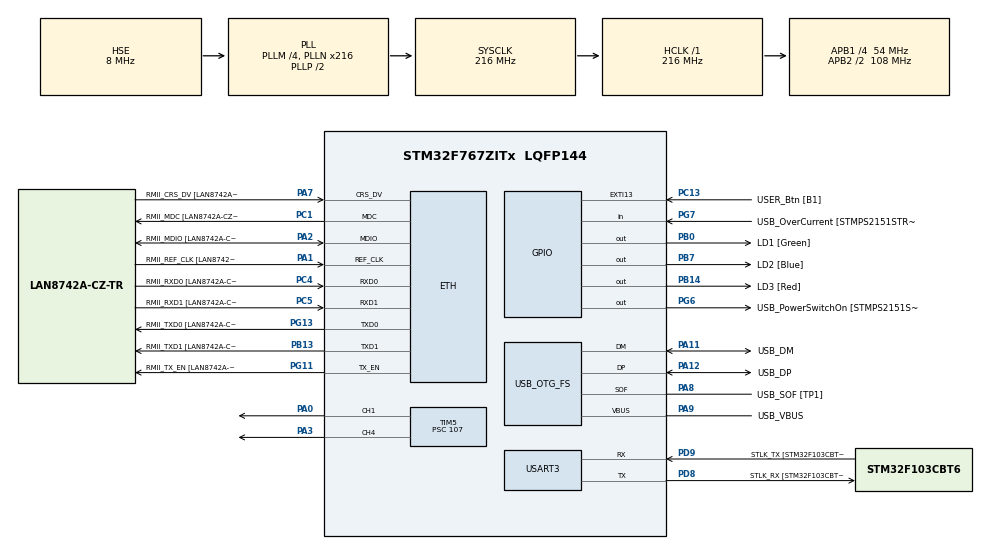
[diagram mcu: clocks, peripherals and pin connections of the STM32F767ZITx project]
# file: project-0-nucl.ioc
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ETH.MediaInterface=HAL_ETH_RMII_MODE
ETH.PHY_Name=LAN8742A_PHY_ADDRESS
ETH.PHY_Value=0
ETH.PhyAddress=0
Mcu.Family=STM32F7
Mcu.Name=STM32F767ZITx
Mcu.Package=LQFP144
NVIC.PriorityGroup=NVIC_PRIORITYGROUP_4
NVIC.USART3_IRQn=true\:0\:0\:false\:false\:true\:true\:true\:true
PA0/WKUP.Signal=S_TIM5_CH1
PA1.GPIO_Label=RMII_REF_CLK [LAN8742A-CZ-TR_REFCLK0]
PA1.Mode=RMII
PA1.Signal=ETH_REF_CLK
PA10.GPIO_Label=USB_ID
PA10.Signal=USB_OTG_FS_ID
PA11.GPIO_Label=USB_DM
PA11.Mode=Device_Only
PA11.Signal=USB_OTG_FS_DM
PA12.GPIO_Label=USB_DP
PA12.Mode=Device_Only
PA12.Signal=USB_OTG_FS_DP
PA13.GPIO_Label=TMS
PA13.Mode=Serial_Wire
PA13.Signal=SYS_JTMS-SWDIO
PA14.GPIO_Label=TCK
PA14.Mode=Serial_Wire
PA14.Signal=SYS_JTCK-SWCLK
PA2.GPIO_Label=RMII_MDIO [LAN8742A-CZ-TR_MDIO]
PA2.Mode=RMII
PA2.Signal=ETH_MDIO
PA3.Signal=S_TIM5_CH4
PA7.GPIO_Label=RMII_CRS_DV [LAN8742A-CZ-TR_CRS_DV]
PA7.Mode=RMII
PA7.Signal=ETH_CRS_DV
PA8.GPIO_Label=USB_SOF [TP1]
PA8.Mode=Activate_SOF_FS
PA8.Signal=USB_OTG_FS_SOF
PA9.GPIO_Label=USB_VBUS
PA9.Mode=Activate_VBUS
PA9.Signal=USB_OTG_FS_VBUS
PB0.GPIO_Label=LD1 [Green]
PB0.Signal=GPIO_Output
PB13.GPIO_Label=RMII_TXD1 [LAN8742A-CZ-TR_TXD1]
PB13.Mode=RMII
PB13.Signal=ETH_TXD1
PB14.GPIO_Label=LD3 [Red]
PB14.Signal=GPIO_Output
PB3.GPIO_Label=SWO
PB3.Signal=SYS_JTDO-SWO
PB7.GPIO_Label=LD2 [Blue]
PB7.Signal=GPIO_Output
PC1.GPIO_Label=RMII_MDC [LAN8742A-CZ-TR_MDC]
PC1.Mode=RMII
PC1.Signal=ETH_MDC
PC13.GPIO_Label=USER_Btn [B1]
PC13.Signal=GPXTI13
PC14/OSC32_IN.Mode=LSE-External-Oscillator
PC14/OSC32_IN.Signal=RCC_OSC32_IN
PC15/OSC32_OUT.Mode=LSE-External-Oscillator
PC15/OSC32_OUT.Signal=RCC_OSC32_OUT
PC4.GPIO_Label=RMII_RXD0 [LAN8742A-CZ-TR_RXD0]
PC4.Mode=RMII
PC4.Signal=ETH_RXD0
PC5.GPIO_Label=RMII_RXD1 [LAN8742A-CZ-TR_RXD1]
PC5.Mode=RMII
PC5.Signal=ETH_RXD1
PD12.Signal=S_TIM4_CH1
PD8.GPIO_Label=STLK_RX [STM32F103CBT6_PA3]
PD8.Mode=Asynchronous
PD8.Signal=USART3_TX
PD9.GPIO_Label=STLK_TX [STM32F103CBT6_PA2]
PD9.Mode=Asynchronous
PD9.Signal=USART3_RX
PG11.GPIO_Label=RMII_TX_EN [LAN8742A-CZ-TR_TXEN]
PG11.Mode=RMII
PG11.Signal=ETH_TX_EN
PG13.GPIO_Label=RMII_TXD0 [LAN8742A-CZ-TR_TXD0]
PG13.Mode=RMII
PG13.Signal=ETH_TXD0
PG6.GPIO_Label=USB_PowerSwitchOn [STMPS2151STR_EN]
PG6.Signal=GPIO_Output
PG7.GPIO_Label=USB_OverCurrent [STMPS2151STR_FAULT]
PG7.Signal=GPIO_Input
PH0/OSC_IN.GPIO_Label=MCO [STM32F103CBT6_PA8]
PH0/OSC_IN.Mode=HSE-External-Clock-Source
PH0/OSC_IN.Signal=RCC_OSC_IN
PH1/OSC_OUT.Mode=HSE-External-Clock-Source
PH1/OSC_OUT.Signal=RCC_OSC_OUT
ProjectManager.HeapSize=0x200
ProjectManager.StackSize=0x400
ProjectManager.TargetToolchain=STM32CubeIDE
RCC.48MHZClocksFreq_Value=24000000
RCC.AHBFreq_Value=216000000
RCC.APB1CLKDivider=RCC_HCLK_DIV4
RCC.APB1Freq_Value=54000000
RCC.APB1TimFreq_Value=108000000
RCC.APB2CLKDivider=RCC_HCLK_DIV2
RCC.APB2Freq_Value=108000000
RCC.APB2TimFreq_Value=216000000
RCC.CortexFreq_Value=216000000
RCC.HCLKFreq_Value=216000000
RCC.HSE_VALUE=8000000
RCC.HSI_VALUE=16000000
RCC.PLLM=4
RCC.PLLMUL=RCC_PLL_MUL9
RCC.PLLN=216
RCC.PLLQ=9
RCC.PRESCALERUSB=RCC_USBCLKSOURCE_PLL_DIV1_5
RCC.SYSCLKFreq_VALUE=216000000
RCC.SYSCLKSource=RCC_SYSCLKSOURCE_PLLCLK
RCC.SYSCLKSourceVirtual=RCC_SYSCLKSOURCE_PLLCLK
RCC.USBFreq_Value=48000000
RCC.VCOOutputFreq_Value=432000000
SH.S_TIM4_CH1.0=TIM4_CH1
SH.S_TIM5_CH1.0=TIM5_CH1,PWM Generation1 CH1
SH.S_TIM5_CH4.0=TIM5_CH4,PWM Generation4 CH4
TIM5.Channel-PWM\ Generation1\ CH1=TIM_CHANNEL_1
TIM5.Channel-PWM\ Generation4\ CH4=TIM_CHANNEL_4
TIM5.Period=19999
TIM5.Prescaler=107
TIM5.Pulse-PWM\ Generation1\ CH1=1500
TIM5.Pulse-PWM\ Generation4\ CH4=1500
USART3.VirtualMode-Asynchronous=VM_ASYNC
USB_OTG_FS.VirtualMode=Device_Only
VP_TIM5_VS_ClockSourceINT.Mode=Internal
board=NUCLEO-F767ZI

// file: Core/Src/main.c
/* USER CODE BEGIN Header */
/**
  ******************************************************************************
  * @file           : main.c
  * @brief          : Main program body
  ******************************************************************************
  * @attention
  *
  * Copyright (c) 2025 STMicroelectronics.
  * All rights reserved.
  *
  * This software is licensed under terms that can be found in the LICENSE file
  * in the root directory of this software component.
  * If no LICENSE file comes with this software, it is provided AS-IS.
  *
  ******************************************************************************
  */
/* USER CODE END Header */
#include "main.h"
#include "string.h"

/* USER CODE BEGIN Includes */
#include <stdio.h>
/* USER CODE END Includes */

/* USER CODE BEGIN PTD */
// 6-12 nov 70
// 26-4 nov-dic 57
/* USER CODE END PTD */

/* USER CODE BEGIN PD */
#define SERVO_MID 1720 // **Your calibrated CCR value for zero speed**
#define SERVO_MAX 2500    // Full speed Clockwise (Min Pulse from before)
#define SERVO_MIN 500   // Full speed Counter-Clockwise (Max Pulse from before)
#define RX_BUFFER_SIZE 64
/* USER CODE END PD */

#if defined ( __ICCARM__ ) /*!< IAR Compiler */
#pragma location=0x2007c000
ETH_DMADescTypeDef  DMARxDscrTab[ETH_RX_DESC_CNT]; /* Ethernet Rx DMA Descriptors */
#pragma location=0x2007c0a0
ETH_DMADescTypeDef  DMATxDscrTab[ETH_TX_DESC_CNT]; /* Ethernet Tx DMA Descriptors */

#elif defined ( __CC_ARM )  /* MDK ARM Compiler */

__attribute__((at(0x2007c000))) ETH_DMADescTypeDef  DMARxDscrTab[ETH_RX_DESC_CNT]; /* Ethernet Rx DMA Descriptors */
__attribute__((at(0x2007c0a0))) ETH_DMADescTypeDef  DMATxDscrTab[ETH_TX_DESC_CNT]; /* Ethernet Tx DMA Descriptors */

#elif defined ( __GNUC__ ) /* GNU Compiler */

ETH_DMADescTypeDef DMARxDscrTab[ETH_RX_DESC_CNT] __attribute__((section(".RxDecripSection"))); /* Ethernet Rx DMA Descriptors */
ETH_DMADescTypeDef DMATxDscrTab[ETH_TX_DESC_CNT] __attribute__((section(".TxDecripSection")));   /* Ethernet Tx DMA Descriptors */
#endif

ETH_TxPacketConfig TxConfig;

ETH_HandleTypeDef heth;

TIM_HandleTypeDef htim5;

UART_HandleTypeDef huart3;

PCD_HandleTypeDef hpcd_USB_OTG_FS;

/* USER CODE BEGIN PV */
uint8_t rx_buffer[RX_BUFFER_SIZE];
uint8_t rx_char[1];

volatile uint8_t rx_index = 0;
volatile _Bool command_ready = 0;
/* USER CODE END PV */

void SystemClock_Config(void);
static void MX_GPIO_Init(void);
static void MX_ETH_Init(void);
static void MX_USART3_UART_Init(void);
static void MX_USB_OTG_FS_PCD_Init(void);
static void MX_TIM5_Init(void);

/* USER CODE BEGIN 0 */
double denormalize(double x, double x_min, double x_max) {
    if (x < 0.0) x = 0.0;
    if (x > 100.0) x = 100.0;
    double ratio = x / 100.0;
    return x_min + ratio * (x_max - x_min);
}

void set_servos_pos(uint16_t pos1, uint16_t pos2) {
	__HAL_TIM_SET_COMPARE(&htim5, TIM_CHANNEL_1, pos1);
	__HAL_TIM_SET_COMPARE(&htim5, TIM_CHANNEL_4, pos2);
}

/**
  * @brief  Parses a command string for servo control.
  * @param  command: The null-terminated string to parse.
  * @param  servo_id: Pointer to store the extracted servo ID (1 or 2).
  * @param  angle: Pointer to store the extracted angle (0-100).
  * @retval 1 if parsing is successful, 0 otherwise.
  */
_Bool parse_servo_command(const char *command, int *servo_id, int *angle) {
    // Use sscanf to match the format "s<integer><integer>"
    // It will try to extract two integers from the string after the 's'.
    if (sscanf(command, "s%1d%d", servo_id, angle) != 2) {
        // If sscanf did not find exactly two numbers, the format is wrong.
        return 0; // Failure
    }

    // Now, validate the values we extracted.
    if (*servo_id < 1 || *servo_id > 2) {
        // Servo ID must be 1 or 2.
        return 0; // Failure
    }

    if (*angle < 0 || *angle > 100) {
        // Angle must be between 0 and 100.
        return 0; // Failure
    }

    // If we get here, the command is valid.
    return 1; // Success
}

void HAL_UART_RxCpltCallback(UART_HandleTypeDef *huart) {
	if (huart->Instance == USART3) {
		HAL_UART_Transmit(huart, rx_char, 1, 10);

		if (rx_char[0] == '\n' || rx_char[0] == '\r') {
			rx_buffer[rx_index] = '\0';
			command_ready = 1;
			rx_index = 0;
			HAL_UART_Transmit(huart, (uint8_t*)"\r\n", 2, 10);
		} else if (rx_index < RX_BUFFER_SIZE - 1) {
			rx_buffer[rx_index++] = rx_char[0];
		}
		HAL_UART_Receive_IT(&huart3, rx_char, 1);
	}
}

/* USER CODE END 0 */

int main(void)
{

  /* MCU Configuration--------------------------------------------------------*/

  /* Reset of all peripherals, Initializes the Flash interface and the Systick. */
  HAL_Init();

  /* Configure the system clock */
  SystemClock_Config();

  /* Initialize all configured peripherals */
  MX_GPIO_Init();
  MX_ETH_Init();
  MX_USART3_UART_Init();
  MX_USB_OTG_FS_PCD_Init();
  MX_TIM5_Init();
  /* USER CODE BEGIN 2 */
  HAL_TIM_PWM_Start(&htim5, TIM_CHANNEL_1);
  HAL_TIM_PWM_Start(&htim5, TIM_CHANNEL_4);
  HAL_UART_Receive_IT(&huart3, rx_char, 1);

  //double x = 0;
  //uint16_t pos1 = 0, pos2 = 0;

  uint8_t received_char;
  GPIO_PinState last_state = GPIO_PIN_SET;
  char* startup_msg = "Servo Controller Ready. Format: s<id><angle> (e.g., s190)\r\n";
  HAL_UART_Transmit(&huart3, (uint8_t*)startup_msg, strlen(startup_msg), HAL_MAX_DELAY);
  //if (HAL_UART_Receive_IT(&huart3, &pos1, 1) != HAL_OK) {Error_Handler();}
	// printf("UART Command Parser Initialized. Waiting for commands...\r\n");
  /* USER CODE END 2 */

  /* Infinite loop */
  /* USER CODE BEGIN WHILE */
  while (1)
  {
	if (command_ready) {
		int servo_id, angle;
		if(parse_servo_command((const char*)rx_buffer, &servo_id, &angle)) {
		  // valid command
		  uint16_t pulse = (uint16_t)denormalize(angle, SERVO_MIN, SERVO_MAX);
		  if (servo_id == 1) {
			__HAL_TIM_SET_COMPARE(&htim5, TIM_CHANNEL_1, pulse);
		  } else if (servo_id == 2) {
			__HAL_TIM_SET_COMPARE(&htim5, TIM_CHANNEL_4, pulse);
		  }
		  char ok_msg[50];
		  sprintf(ok_msg, "OK: Set Servo %d to angle %d (pulse %u)\r\n", servo_id, angle, pulse);
          HAL_UART_Transmit(&huart3, (uint8_t*)ok_msg, strlen(ok_msg), 100);
		} else {
		  // Command was invalid
		  char err_msg[50];
		  sprintf(err_msg, "Error: Invalid command '%s'\r\n", (const char*)rx_buffer);
		  HAL_UART_Transmit(&huart3, (uint8_t*)err_msg, strlen(err_msg), 100);
		}
		command_ready = 0;
	}

	  /* FUNZIONAAAAAAAAAAAAAAAAAAAAAAAAAAAAAAAAAAAAAAAAAAAAAAAA
	  // --- Part 1: Receive characters and build a command string ---
	  if (HAL_UART_Receive(&huart3, &received_char, 1, 10) == HAL_OK)
	  {
		  // Echo the character so the user can see what they're typing
		  HAL_UART_Transmit(&huart3, &received_char, 1, 100);

		  if (received_char == '\r' || received_char == '\n') {
			  // Enter key was pressed, command is complete
			  rx_buffer[rx_index] = '\0'; // Null-terminate the string
			  command_ready = 1;          // Set flag to process the command
			  rx_index = 0;               // Reset buffer index for the next command

			  // Print a newline for cleaner terminal output
			  char* newline = "\r\n";
			  HAL_UART_Transmit(&huart3, (uint8_t*)newline, strlen(newline), 100);

		  } else if (rx_index < RX_BUFFER_SIZE - 1) {
			  // Add the character to our buffer
			  rx_buffer[rx_index++] = received_char;
		  }
	  }

	  // --- Part 2: Process the command if it's ready ---
	  if (command_ready)
	  {
		  int servo_id, angle;
		  if (parse_servo_command((const char*)rx_buffer, &servo_id, &angle)) {
			  // Command was valid, let's control the servo
			  uint16_t pulse = (uint16_t)denormalize(angle, SERVO_MIN, SERVO_MAX);

			  if (servo_id == 1) {
				  __HAL_TIM_SET_COMPARE(&htim5, TIM_CHANNEL_1, pulse);
			  } else if (servo_id == 2) {
				  __HAL_TIM_SET_COMPARE(&htim5, TIM_CHANNEL_4, pulse);
			  }

			  // Send confirmation back to the user
			  char ok_msg[50];
			  sprintf(ok_msg, "OK: Set Servo %d to angle %d (pulse %u)\r\n", servo_id, angle, pulse);
			  HAL_UART_Transmit(&huart3, (uint8_t*)ok_msg, strlen(ok_msg), 100);

		  } else {
			  // Command was invalid
			  char err_msg[50];
			  sprintf(err_msg, "Error: Invalid command '%s'\r\n", (const char*)rx_buffer);
			  HAL_UART_Transmit(&huart3, (uint8_t*)err_msg, strlen(err_msg), 100);
		  }

		  // Reset the flag
		  command_ready = 0;
	      }*/

	  /*
	int status, percentage;
	if (parse_s_command((const char*)rx_buffer, &status, &percentage)) {
	  HAL_UART_Transmit(&huart3, "SUCCESS\n", 16, HAL_MAX_DELAY);
	} else {
	  HAL_UART_Transmit(&huart3, "FAIL\n\r", 16, HAL_MAX_DELAY);
	}
	rx_index = 0;
	command_ready = 0;
	HAL_Delay(1000);
	*/

	/*pos1 = denormalize(target_percent_s1, SERVO_MIN, SERVO_MAX);
	pos2 = denormalize(target_percent_s2, SERVO_MIN, SERVO_MAX);
	set_servos_pos(pos1, pos2);
	HAL_Delay(500);
	if (HAL_UART_GetState(&huart3) == HAL_UART_STATE_READY) {
		HAL_UART_Transmit_IT(&huart3, my_message, sizeof(my_message)-1);
	}*/
	  /*
	  scanf("%1s", &msg);
      if(strcmp(&msg, "1") == 0){
          HAL_GPIO_TogglePin(LD1_GPIO_Port, LD1_Pin);
      }
      else if(strcmp(&msg, "2") == 0){
          HAL_GPIO_TogglePin(LD2_GPIO_Port, LD2_Pin);
      }
      else if(strcmp(&msg, "3") == 0){
          HAL_GPIO_TogglePin(LD3_GPIO_Port, LD3_Pin);
      }
      */
    /* USER CODE END WHILE */

  }
}

void SystemClock_Config(void)
{
  RCC_OscInitTypeDef RCC_OscInitStruct = {0};
  RCC_ClkInitTypeDef RCC_ClkInitStruct = {0};

  /** Configure LSE Drive Capability
  */
  HAL_PWR_EnableBkUpAccess();

  /** Configure the main internal regulator output voltage
  */
  __HAL_RCC_PWR_CLK_ENABLE();
  __HAL_PWR_VOLTAGESCALING_CONFIG(PWR_REGULATOR_VOLTAGE_SCALE1);

  /** Initializes the RCC Oscillators according to the specified parameters
  * in the RCC_OscInitTypeDef structure.
  */
  RCC_OscInitStruct.OscillatorType = RCC_OSCILLATORTYPE_HSE;
  RCC_OscInitStruct.HSEState = RCC_HSE_BYPASS;
  RCC_OscInitStruct.PLL.PLLState = RCC_PLL_ON;
  RCC_OscInitStruct.PLL.PLLSource = RCC_PLLSOURCE_HSE;
  RCC_OscInitStruct.PLL.PLLM = 4;
  RCC_OscInitStruct.PLL.PLLN = 216;
  RCC_OscInitStruct.PLL.PLLP = RCC_PLLP_DIV2;
  RCC_OscInitStruct.PLL.PLLQ = 9;
  RCC_OscInitStruct.PLL.PLLR = 2;
  if (HAL_RCC_OscConfig(&RCC_OscInitStruct) != HAL_OK)
  {
    Error_Handler();
  }

  /** Activate the Over-Drive mode
  */
  if (HAL_PWREx_EnableOverDrive() != HAL_OK)
  {
    Error_Handler();
  }

  /** Initializes the CPU, AHB and APB buses clocks
  */
  RCC_ClkInitStruct.ClockType = RCC_CLOCKTYPE_HCLK|RCC_CLOCKTYPE_SYSCLK
                              |RCC_CLOCKTYPE_PCLK1|RCC_CLOCKTYPE_PCLK2;
  RCC_ClkInitStruct.SYSCLKSource = RCC_SYSCLKSOURCE_PLLCLK;
  RCC_ClkInitStruct.AHBCLKDivider = RCC_SYSCLK_DIV1;
  RCC_ClkInitStruct.APB1CLKDivider = RCC_HCLK_DIV4;
  RCC_ClkInitStruct.APB2CLKDivider = RCC_HCLK_DIV2;

  if (HAL_RCC_ClockConfig(&RCC_ClkInitStruct, FLASH_LATENCY_7) != HAL_OK)
  {
    Error_Handler();
  }
}

static void MX_ETH_Init(void)
{

   static uint8_t MACAddr[6];

  heth.Instance = ETH;
  MACAddr[0] = 0x00;
  MACAddr[1] = 0x80;
  MACAddr[2] = 0xE1;
  MACAddr[3] = 0x00;
  MACAddr[4] = 0x00;
  MACAddr[5] = 0x00;
  heth.Init.MACAddr = &MACAddr[0];
  heth.Init.MediaInterface = HAL_ETH_RMII_MODE;
  heth.Init.TxDesc = DMATxDscrTab;
  heth.Init.RxDesc = DMARxDscrTab;
  heth.Init.RxBuffLen = 1524;

  if (HAL_ETH_Init(&heth) != HAL_OK)
  {
    Error_Handler();
  }

  memset(&TxConfig, 0 , sizeof(ETH_TxPacketConfig));
  TxConfig.Attributes = ETH_TX_PACKETS_FEATURES_CSUM | ETH_TX_PACKETS_FEATURES_CRCPAD;
  TxConfig.ChecksumCtrl = ETH_CHECKSUM_IPHDR_PAYLOAD_INSERT_PHDR_CALC;
  TxConfig.CRCPadCtrl = ETH_CRC_PAD_INSERT;

}

static void MX_TIM5_Init(void)
{

  TIM_ClockConfigTypeDef sClockSourceConfig = {0};
  TIM_MasterConfigTypeDef sMasterConfig = {0};
  TIM_OC_InitTypeDef sConfigOC = {0};

  htim5.Instance = TIM5;
  htim5.Init.Prescaler = 107;
  htim5.Init.CounterMode = TIM_COUNTERMODE_UP;
  htim5.Init.Period = 19999;
  htim5.Init.ClockDivision = TIM_CLOCKDIVISION_DIV1;
  htim5.Init.AutoReloadPreload = TIM_AUTORELOAD_PRELOAD_DISABLE;
  if (HAL_TIM_Base_Init(&htim5) != HAL_OK)
  {
    Error_Handler();
  }
  sClockSourceConfig.ClockSource = TIM_CLOCKSOURCE_INTERNAL;
  if (HAL_TIM_ConfigClockSource(&htim5, &sClockSourceConfig) != HAL_OK)
  {
    Error_Handler();
  }
  if (HAL_TIM_PWM_Init(&htim5) != HAL_OK)
  {
    Error_Handler();
  }
  sMasterConfig.MasterOutputTrigger = TIM_TRGO_RESET;
  sMasterConfig.MasterSlaveMode = TIM_MASTERSLAVEMODE_DISABLE;
  if (HAL_TIMEx_MasterConfigSynchronization(&htim5, &sMasterConfig) != HAL_OK)
  {
    Error_Handler();
  }
  sConfigOC.OCMode = TIM_OCMODE_PWM1;
  sConfigOC.Pulse = 1500;
  sConfigOC.OCPolarity = TIM_OCPOLARITY_HIGH;
  sConfigOC.OCFastMode = TIM_OCFAST_DISABLE;
  if (HAL_TIM_PWM_ConfigChannel(&htim5, &sConfigOC, TIM_CHANNEL_1) != HAL_OK)
  {
    Error_Handler();
  }
  if (HAL_TIM_PWM_ConfigChannel(&htim5, &sConfigOC, TIM_CHANNEL_4) != HAL_OK)
  {
    Error_Handler();
  }
  HAL_TIM_MspPostInit(&htim5);

}

static void MX_USART3_UART_Init(void)
{

  huart3.Instance = USART3;
  huart3.Init.BaudRate = 115200;
  huart3.Init.WordLength = UART_WORDLENGTH_8B;
  huart3.Init.StopBits = UART_STOPBITS_1;
  huart3.Init.Parity = UART_PARITY_NONE;
  huart3.Init.Mode = UART_MODE_TX_RX;
  huart3.Init.HwFlowCtl = UART_HWCONTROL_NONE;
  huart3.Init.OverSampling = UART_OVERSAMPLING_16;
  huart3.Init.OneBitSampling = UART_ONE_BIT_SAMPLE_DISABLE;
  huart3.AdvancedInit.AdvFeatureInit = UART_ADVFEATURE_NO_INIT;
  if (HAL_UART_Init(&huart3) != HAL_OK)
  {
    Error_Handler();
  }

}

static void MX_USB_OTG_FS_PCD_Init(void)
{

  hpcd_USB_OTG_FS.Instance = USB_OTG_FS;
  hpcd_USB_OTG_FS.Init.dev_endpoints = 6;
  hpcd_USB_OTG_FS.Init.speed = PCD_SPEED_FULL;
  hpcd_USB_OTG_FS.Init.dma_enable = DISABLE;
  hpcd_USB_OTG_FS.Init.phy_itface = PCD_PHY_EMBEDDED;
  hpcd_USB_OTG_FS.Init.Sof_enable = ENABLE;
  hpcd_USB_OTG_FS.Init.low_power_enable = DISABLE;
  hpcd_USB_OTG_FS.Init.lpm_enable = DISABLE;
  hpcd_USB_OTG_FS.Init.vbus_sensing_enable = ENABLE;
  hpcd_USB_OTG_FS.Init.use_dedicated_ep1 = DISABLE;
  if (HAL_PCD_Init(&hpcd_USB_OTG_FS) != HAL_OK)
  {
    Error_Handler();
  }

}

static void MX_GPIO_Init(void)
{
  GPIO_InitTypeDef GPIO_InitStruct = {0};

  /* GPIO Ports Clock Enable */
  __HAL_RCC_GPIOC_CLK_ENABLE();
  __HAL_RCC_GPIOH_CLK_ENABLE();
  __HAL_RCC_GPIOA_CLK_ENABLE();
  __HAL_RCC_GPIOB_CLK_ENABLE();
  __HAL_RCC_GPIOD_CLK_ENABLE();
  __HAL_RCC_GPIOG_CLK_ENABLE();

  /*Configure GPIO pin Output Level */
  HAL_GPIO_WritePin(GPIOB, LD1_Pin|LD3_Pin|LD2_Pin, GPIO_PIN_RESET);

  /*Configure GPIO pin Output Level */
  HAL_GPIO_WritePin(USB_PowerSwitchOn_GPIO_Port, USB_PowerSwitchOn_Pin, GPIO_PIN_RESET);

  /*Configure GPIO pin : USER_Btn_Pin */
  GPIO_InitStruct.Pin = USER_Btn_Pin;
  GPIO_InitStruct.Mode = GPIO_MODE_IT_RISING;
  GPIO_InitStruct.Pull = GPIO_NOPULL;
  HAL_GPIO_Init(USER_Btn_GPIO_Port, &GPIO_InitStruct);

  /*Configure GPIO pins : LD1_Pin LD3_Pin LD2_Pin */
  GPIO_InitStruct.Pin = LD1_Pin|LD3_Pin|LD2_Pin;
  GPIO_InitStruct.Mode = GPIO_MODE_OUTPUT_PP;
  GPIO_InitStruct.Pull = GPIO_NOPULL;
  GPIO_InitStruct.Speed = GPIO_SPEED_FREQ_LOW;
  HAL_GPIO_Init(GPIOB, &GPIO_InitStruct);

  /*Configure GPIO pin : PD12 */
  GPIO_InitStruct.Pin = GPIO_PIN_12;
  GPIO_InitStruct.Mode = GPIO_MODE_AF_PP;
  GPIO_InitStruct.Pull = GPIO_NOPULL;
  GPIO_InitStruct.Speed = GPIO_SPEED_FREQ_LOW;
  GPIO_InitStruct.Alternate = GPIO_AF2_TIM4;
  HAL_GPIO_Init(GPIOD, &GPIO_InitStruct);

  /*Configure GPIO pin : USB_PowerSwitchOn_Pin */
  GPIO_InitStruct.Pin = USB_PowerSwitchOn_Pin;
  GPIO_InitStruct.Mode = GPIO_MODE_OUTPUT_PP;
  GPIO_InitStruct.Pull = GPIO_NOPULL;
  GPIO_InitStruct.Speed = GPIO_SPEED_FREQ_LOW;
  HAL_GPIO_Init(USB_PowerSwitchOn_GPIO_Port, &GPIO_InitStruct);

  /*Configure GPIO pin : USB_OverCurrent_Pin */
  GPIO_InitStruct.Pin = USB_OverCurrent_Pin;
  GPIO_InitStruct.Mode = GPIO_MODE_INPUT;
  GPIO_InitStruct.Pull = GPIO_NOPULL;
  HAL_GPIO_Init(USB_OverCurrent_GPIO_Port, &GPIO_InitStruct);

}

void Error_Handler(void)
{
  __disable_irq();
  while (1)
  {
  }
}
